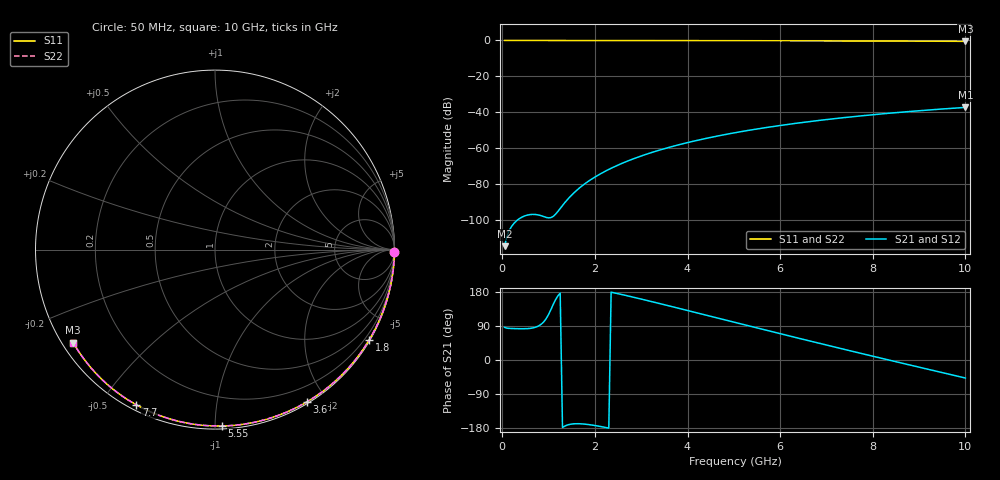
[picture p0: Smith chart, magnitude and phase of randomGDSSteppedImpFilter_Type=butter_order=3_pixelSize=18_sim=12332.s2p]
! freq	dB(S11)	phase(S11)	dB(S12)	phase(S12)
!  dB(S21)	phase(S21)	dB(S22)	phase(S22)
!S-par simulation data
#  GHz  S  DB  R 50
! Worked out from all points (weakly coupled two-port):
!   200 points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, 50 MHz to 10 GHz, reference 50 ohm
!   highest |S21| = -37.28 dB at 10 GHz (marker M1); lowest = -114.6 dB at 50 MHz (marker M2)
!   lowest |S11| = -0.5 dB at 10 GHz (marker M3), VSWR 35.20, Z = 1.55 - j14.9 ohm
!   |S11| at or under -10 dB: nowhere
!   |S22| runs from -0.5 to 0.0 dB; largest |S21 - S12| = 0
!   S11 on the Smith chart (normalised r, x): 50 MHz: open; 1.8 GHz: 0.03, -3.70; 3.6 GHz: 0.02, -1.77; 5.55 GHz: 0.02, -1.04; 7.7 GHz: 0.02, -0.61; 10 GHz: 0.03, -0.30
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0.05  -0.00 -0.9  -114.58 86.0  -114.58 86.0  -0.00 -0.9
0.45  -0.01 -7.7  -98.09 82.4  -98.09 82.4  -0.01 -7.7
0.9  -0.02 -15.3  -98.14 101.4  -98.14 101.4  -0.02 -15.3
1.3  -0.03 -21.9  -91.93 -178.1  -91.93 -178.1  -0.03 -21.9
1.75  -0.04 -29.4  -80.45 -168.9  -80.45 -168.9  -0.04 -29.4
1.8  -0.04 -30.2  -79.49 -169.5  -79.49 -169.5  -0.04 -30.2
1.95  -0.04 -32.7  -76.88 -171.9  -76.88 -171.9  -0.04 -32.7
2.1  -0.04 -35.1  -74.57 -175.0  -74.57 -175.0  -0.04 -35.1
2.3  -0.05 -38.4  -71.83 -179.7  -71.83 -179.7  -0.05 -38.4
2.5  -0.05 -41.6  -69.41 175.0  -69.41 175.0  -0.05 -41.6
2.9  -0.06 -48.0  -65.27 163.7  -65.27 163.7  -0.06 -48.0
3.4  -0.07 -55.8  -61.03 148.9  -61.03 148.9  -0.07 -55.8
3.6  -0.08 -58.9  -59.55 142.8  -59.55 142.8  -0.08 -58.9
4.3  -0.10 -69.5  -55.11 121.4  -55.11 121.4  -0.10 -69.5
5.05  -0.12 -80.5  -51.27 98.4  -51.27 98.4  -0.12 -80.5
5.55  -0.14 -87.7  -49.10 83.2  -49.10 83.2  -0.14 -87.7
6.1  -0.17 -95.4  -46.99 66.5  -46.99 66.5  -0.17 -95.4
6.7  -0.20 -103.6  -44.98 48.4  -44.98 48.4  -0.20 -103.6
7.7  -0.27 -116.9  -42.12 18.8  -42.12 18.8  -0.27 -116.9
8.35  -0.32 -125.4  -40.55 -0.2  -40.55 -0.2  -0.32 -125.4
9.2  -0.40 -136.4  -38.74 -24.7  -38.74 -24.7  -0.40 -136.4
10  -0.49 -146.7  -37.28 -47.6  -37.28 -47.6  -0.49 -146.7
